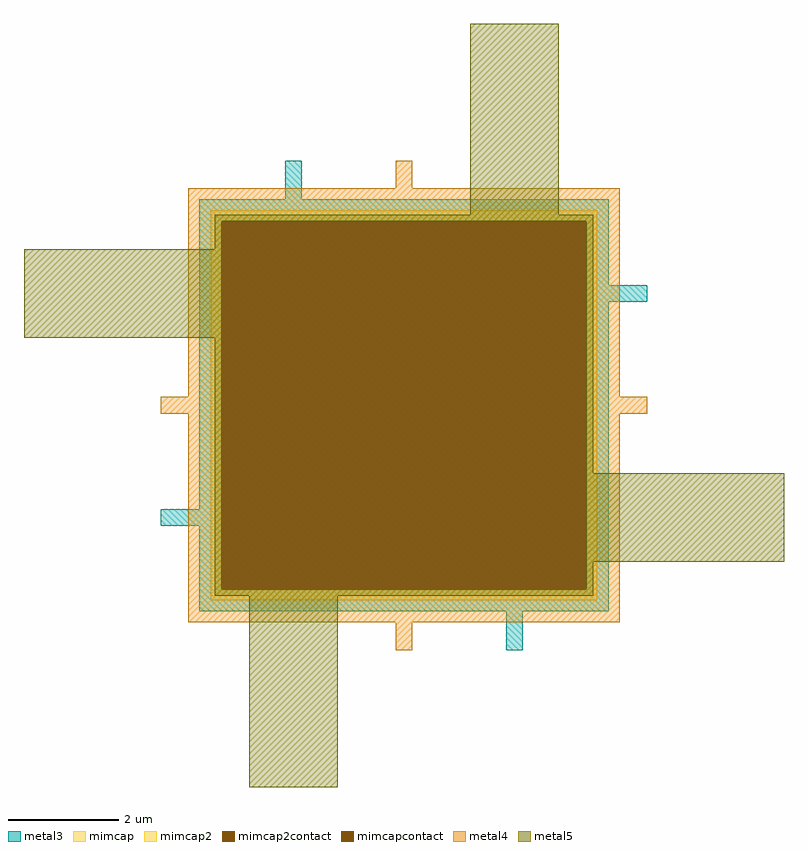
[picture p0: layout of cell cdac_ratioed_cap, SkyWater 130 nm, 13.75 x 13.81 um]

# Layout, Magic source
magic
tech sky130A
magscale 1 2
<< metal3 >>
rect 81341 -31719 81401 -31579
rect 81031 -32029 82511 -31719
rect 81031 -32089 82651 -32029
rect 81031 -32840 82511 -32089
rect 80891 -32900 82511 -32840
rect 81031 -33210 82511 -32900
rect 82141 -33350 82201 -33210
<< mimcap >>
rect 81071 -31799 82471 -31759
rect 81071 -33130 81111 -31799
rect 82431 -33130 82471 -31799
rect 81071 -33170 82471 -33130
<< mimcapcontact >>
rect 81111 -33130 82431 -31799
<< metal4 >>
rect 81741 -31679 81801 -31579
rect 80991 -31799 82551 -31679
rect 80991 -32434 81111 -31799
rect 80891 -32494 81111 -32434
rect 80991 -33130 81111 -32494
rect 82431 -32434 82551 -31799
rect 82431 -32494 82651 -32434
rect 82431 -33130 82551 -32494
rect 80991 -33250 82551 -33130
rect 81741 -33350 81801 -33250
<< mimcap2 >>
rect 81071 -31799 82471 -31759
rect 81071 -33130 81111 -31799
rect 82431 -33130 82471 -31799
rect 81071 -33170 82471 -33130
<< mimcap2contact >>
rect 81111 -33130 82431 -31799
<< metal5 >>
rect 82011 -31775 82331 -31084
rect 81087 -31799 82455 -31775
rect 81087 -31899 81111 -31799
rect 80396 -32219 81111 -31899
rect 81087 -33130 81111 -32219
rect 82431 -32710 82455 -31799
rect 82431 -33030 83146 -32710
rect 82431 -33130 82455 -33030
rect 81087 -33154 82455 -33130
rect 81211 -33846 81531 -33154
<< properties >>
string cdac_ratioed_cap gencell
<< end >>
